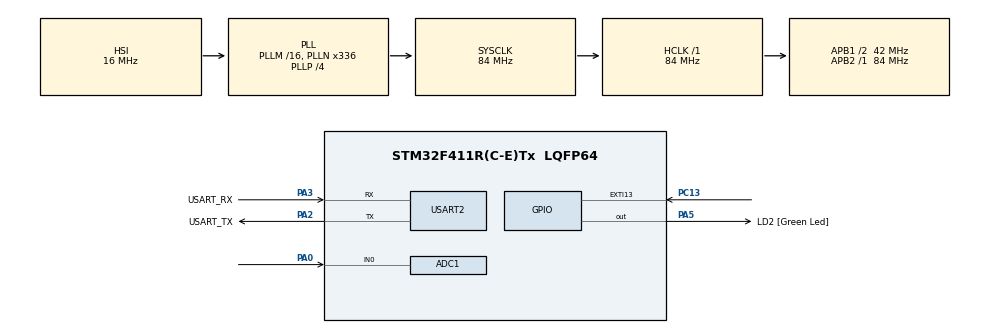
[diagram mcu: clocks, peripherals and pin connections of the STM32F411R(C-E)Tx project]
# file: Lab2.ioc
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ADC1.Channel-0\#ChannelRegularConversion=ADC_CHANNEL_TEMPSENSOR
ADC1.Channel-1\#ChannelRegularConversion=ADC_CHANNEL_0
ADC1.ContinuousConvMode=ENABLE
ADC1.DMAContinuousRequests=ENABLE
ADC1.InjNumberOfConversion=0
ADC1.NbrOfConversion=2
ADC1.NbrOfConversionFlag=1
ADC1.Rank-0\#ChannelRegularConversion=1
ADC1.Rank-1\#ChannelRegularConversion=2
ADC1.SamplingTime-0\#ChannelRegularConversion=ADC_SAMPLETIME_3CYCLES
ADC1.SamplingTime-1\#ChannelRegularConversion=ADC_SAMPLETIME_3CYCLES
ADC1.master=1
Dma.ADC1.0.Direction=DMA_PERIPH_TO_MEMORY
Dma.ADC1.0.FIFOMode=DMA_FIFOMODE_DISABLE
Dma.ADC1.0.Instance=DMA2_Stream0
Dma.ADC1.0.MemDataAlignment=DMA_MDATAALIGN_HALFWORD
Dma.ADC1.0.MemInc=DMA_MINC_ENABLE
Dma.ADC1.0.Mode=DMA_CIRCULAR
Dma.ADC1.0.PeriphDataAlignment=DMA_PDATAALIGN_HALFWORD
Dma.ADC1.0.PeriphInc=DMA_PINC_DISABLE
Dma.ADC1.0.Priority=DMA_PRIORITY_LOW
Dma.Request0=ADC1
Mcu.Family=STM32F4
Mcu.Name=STM32F411R(C-E)Tx
Mcu.Package=LQFP64
NVIC.ADC_IRQn=true\:0\:0\:false\:false\:true\:true\:true\:true
NVIC.DMA2_Stream0_IRQn=true\:0\:0\:false\:false\:true\:false\:true\:true
NVIC.EXTI15_10_IRQn=true\:0\:0\:false\:false\:true\:true\:true\:true
NVIC.PriorityGroup=NVIC_PRIORITYGROUP_0
PA0-WKUP.Signal=ADCx_IN0
PA13.GPIO_Label=TMS
PA13.Mode=Serial_Wire
PA13.Signal=SYS_JTMS-SWDIO
PA14.GPIO_Label=TCK
PA14.Mode=Serial_Wire
PA14.Signal=SYS_JTCK-SWCLK
PA2.GPIO_Label=USART_TX
PA2.Mode=Asynchronous
PA2.Signal=USART2_TX
PA3.GPIO_Label=USART_RX
PA3.Mode=Asynchronous
PA3.Signal=USART2_RX
PA5.GPIO_Label=LD2 [Green Led]
PA5.Signal=GPIO_Output
PB3.GPIO_Label=SWO
PB3.Signal=SYS_JTDO-SWO
PC13-ANTI_TAMP.GPIO_ModeDefaultEXTI=GPIO_MODE_IT_FALLING
PC13-ANTI_TAMP.Signal=GPXTI13
PC14-OSC32_IN.Mode=LSE-External-Oscillator
PC14-OSC32_IN.Signal=RCC_OSC32_IN
PC15-OSC32_OUT.Mode=LSE-External-Oscillator
PC15-OSC32_OUT.Signal=RCC_OSC32_OUT
PH0\ -\ OSC_IN.Mode=HSE-External-Clock-Source
PH0\ -\ OSC_IN.Signal=RCC_OSC_IN
PH1\ -\ OSC_OUT.Mode=HSE-External-Clock-Source
PH1\ -\ OSC_OUT.Signal=RCC_OSC_OUT
ProjectManager.HeapSize=0x200
ProjectManager.StackSize=0x400
ProjectManager.TargetToolchain=STM32CubeIDE
RCC.48MHZClocksFreq_Value=84000000
RCC.AHBFreq_Value=84000000
RCC.APB1CLKDivider=RCC_HCLK_DIV2
RCC.APB1Freq_Value=42000000
RCC.APB1TimFreq_Value=84000000
RCC.APB2Freq_Value=84000000
RCC.APB2TimFreq_Value=84000000
RCC.CortexFreq_Value=84000000
RCC.FLatency-AdvancedSettings=FLASH_LATENCY_2
RCC.HCLKFreq_Value=84000000
RCC.HSE_VALUE=8000000
RCC.HSI_VALUE=16000000
RCC.PLLN=336
RCC.PLLP=RCC_PLLP_DIV4
RCC.SYSCLKFreq_VALUE=84000000
RCC.SYSCLKSource=RCC_SYSCLKSOURCE_PLLCLK
RCC.VCOOutputFreq_Value=336000000
SH.ADCx_IN0.0=ADC1_IN0,IN0
USART2.VirtualMode=VM_ASYNC
VP_ADC1_TempSens_Input.Mode=IN-TempSens
board=NUCLEO-F411RE

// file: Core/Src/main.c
/* USER CODE BEGIN Header */
/**
  ******************************************************************************
  * @file           : main.c
  * @brief          : Main program body
  ******************************************************************************
  * @attention
  *
  * Copyright (c) 2023 STMicroelectronics.
  * All rights reserved.
  *
  * This software is licensed under terms that can be found in the LICENSE file
  * in the root directory of this software component.
  * If no LICENSE file comes with this software, it is provided AS-IS.
  *
  ******************************************************************************
  */
/* USER CODE END Header */
#include "main.h"

ADC_HandleTypeDef hadc1;
DMA_HandleTypeDef hdma_adc1;

UART_HandleTypeDef huart2;

/* USER CODE BEGIN PV */
uint16_t adcRawData[20];
uint16_t sumV;
uint16_t sumT;
uint16_t avV;
uint16_t avT;
uint16_t Tc;
uint16_t Tk;

typedef union
{
	struct
	{
		uint16_t ADC_IN0;
		uint16_t Temp;
	}subData;
	uint16_t buffer[2];
}DMA_ADC_BufferType;

DMA_ADC_BufferType buffer[10];
/* USER CODE END PV */

void SystemClock_Config(void);
static void MX_GPIO_Init(void);
static void MX_DMA_Init(void);
static void MX_USART2_UART_Init(void);
static void MX_ADC1_Init(void);

int main(void)
{

  /* MCU Configuration--------------------------------------------------------*/

  /* Reset of all peripherals, Initializes the Flash interface and the Systick. */
  HAL_Init();

  /* Configure the system clock */
  SystemClock_Config();

  /* Initialize all configured peripherals */
  MX_GPIO_Init();
  MX_DMA_Init();
  MX_USART2_UART_Init();
  MX_ADC1_Init();

  /* Infinite loop */
  while (1)
  {

    /* USER CODE BEGIN 3 */
	  	  static uint32_t timestamp = 0;
	  	  if (HAL_GetTick() >= timestamp)
	  	  {
	  		  timestamp = HAL_GetTick()+1000;
	  		  sumT = adcRawData[0]+adcRawData[2]+adcRawData[4]+adcRawData[6]+adcRawData[8]+adcRawData[10]+adcRawData[12]+adcRawData[14]+adcRawData[16]+adcRawData[18];
	  		  sumV = adcRawData[1]+adcRawData[3]+adcRawData[5]+adcRawData[7]+adcRawData[9]+adcRawData[11]+adcRawData[13]+adcRawData[15]+adcRawData[17]+adcRawData[19];
	  		  avV = (sumV/10)*6600/4096;
	  		  avT = (sumT/10);
	  		  Tc = ((avT-760)/2.5)+25;
	  		  Tk = Tc +273.15;
	  	  }
  }
  /* USER CODE END 3 */
}

void SystemClock_Config(void)
{
  RCC_OscInitTypeDef RCC_OscInitStruct = {0};
  RCC_ClkInitTypeDef RCC_ClkInitStruct = {0};

  /** Configure the main internal regulator output voltage
  */
  __HAL_RCC_PWR_CLK_ENABLE();
  __HAL_PWR_VOLTAGESCALING_CONFIG(PWR_REGULATOR_VOLTAGE_SCALE1);

  /** Initializes the RCC Oscillators according to the specified parameters
  * in the RCC_OscInitTypeDef structure.
  */
  RCC_OscInitStruct.OscillatorType = RCC_OSCILLATORTYPE_HSI;
  RCC_OscInitStruct.HSIState = RCC_HSI_ON;
  RCC_OscInitStruct.HSICalibrationValue = RCC_HSICALIBRATION_DEFAULT;
  RCC_OscInitStruct.PLL.PLLState = RCC_PLL_ON;
  RCC_OscInitStruct.PLL.PLLSource = RCC_PLLSOURCE_HSI;
  RCC_OscInitStruct.PLL.PLLM = 16;
  RCC_OscInitStruct.PLL.PLLN = 336;
  RCC_OscInitStruct.PLL.PLLP = RCC_PLLP_DIV4;
  RCC_OscInitStruct.PLL.PLLQ = 4;
  if (HAL_RCC_OscConfig(&RCC_OscInitStruct) != HAL_OK)
  {
    Error_Handler();
  }

  /** Initializes the CPU, AHB and APB buses clocks
  */
  RCC_ClkInitStruct.ClockType = RCC_CLOCKTYPE_HCLK|RCC_CLOCKTYPE_SYSCLK
                              |RCC_CLOCKTYPE_PCLK1|RCC_CLOCKTYPE_PCLK2;
  RCC_ClkInitStruct.SYSCLKSource = RCC_SYSCLKSOURCE_PLLCLK;
  RCC_ClkInitStruct.AHBCLKDivider = RCC_SYSCLK_DIV1;
  RCC_ClkInitStruct.APB1CLKDivider = RCC_HCLK_DIV2;
  RCC_ClkInitStruct.APB2CLKDivider = RCC_HCLK_DIV1;

  if (HAL_RCC_ClockConfig(&RCC_ClkInitStruct, FLASH_LATENCY_2) != HAL_OK)
  {
    Error_Handler();
  }
}

static void MX_ADC1_Init(void)
{

  ADC_ChannelConfTypeDef sConfig = {0};

  /** Configure the global features of the ADC (Clock, Resolution, Data Alignment and number of conversion)
  */
  hadc1.Instance = ADC1;
  hadc1.Init.ClockPrescaler = ADC_CLOCK_SYNC_PCLK_DIV4;
  hadc1.Init.Resolution = ADC_RESOLUTION_12B;
  hadc1.Init.ScanConvMode = ENABLE;
  hadc1.Init.ContinuousConvMode = ENABLE;
  hadc1.Init.DiscontinuousConvMode = DISABLE;
  hadc1.Init.ExternalTrigConvEdge = ADC_EXTERNALTRIGCONVEDGE_NONE;
  hadc1.Init.ExternalTrigConv = ADC_SOFTWARE_START;
  hadc1.Init.DataAlign = ADC_DATAALIGN_RIGHT;
  hadc1.Init.NbrOfConversion = 2;
  hadc1.Init.DMAContinuousRequests = ENABLE;
  hadc1.Init.EOCSelection = ADC_EOC_SINGLE_CONV;
  if (HAL_ADC_Init(&hadc1) != HAL_OK)
  {
    Error_Handler();
  }

  /** Configure for the selected ADC regular channel its corresponding rank in the sequencer and its sample time.
  */
  sConfig.Channel = ADC_CHANNEL_TEMPSENSOR;
  sConfig.Rank = 1;
  sConfig.SamplingTime = ADC_SAMPLETIME_3CYCLES;
  if (HAL_ADC_ConfigChannel(&hadc1, &sConfig) != HAL_OK)
  {
    Error_Handler();
  }

  /** Configure for the selected ADC regular channel its corresponding rank in the sequencer and its sample time.
  */
  sConfig.Channel = ADC_CHANNEL_0;
  sConfig.Rank = 2;
  if (HAL_ADC_ConfigChannel(&hadc1, &sConfig) != HAL_OK)
  {
    Error_Handler();
  }

}

static void MX_USART2_UART_Init(void)
{

  huart2.Instance = USART2;
  huart2.Init.BaudRate = 115200;
  huart2.Init.WordLength = UART_WORDLENGTH_8B;
  huart2.Init.StopBits = UART_STOPBITS_1;
  huart2.Init.Parity = UART_PARITY_NONE;
  huart2.Init.Mode = UART_MODE_TX_RX;
  huart2.Init.HwFlowCtl = UART_HWCONTROL_NONE;
  huart2.Init.OverSampling = UART_OVERSAMPLING_16;
  if (HAL_UART_Init(&huart2) != HAL_OK)
  {
    Error_Handler();
  }

}

static void MX_DMA_Init(void)
{

  /* DMA controller clock enable */
  __HAL_RCC_DMA2_CLK_ENABLE();

  /* DMA interrupt init */
  /* DMA2_Stream0_IRQn interrupt configuration */
  HAL_NVIC_SetPriority(DMA2_Stream0_IRQn, 0, 0);
  HAL_NVIC_EnableIRQ(DMA2_Stream0_IRQn);

}

static void MX_GPIO_Init(void)
{
  GPIO_InitTypeDef GPIO_InitStruct = {0};

  /* GPIO Ports Clock Enable */
  __HAL_RCC_GPIOC_CLK_ENABLE();
  __HAL_RCC_GPIOH_CLK_ENABLE();
  __HAL_RCC_GPIOA_CLK_ENABLE();
  __HAL_RCC_GPIOB_CLK_ENABLE();

  /*Configure GPIO pin Output Level */
  HAL_GPIO_WritePin(LD2_GPIO_Port, LD2_Pin, GPIO_PIN_RESET);

  /*Configure GPIO pin : PC13 */
  GPIO_InitStruct.Pin = GPIO_PIN_13;
  GPIO_InitStruct.Mode = GPIO_MODE_IT_FALLING;
  GPIO_InitStruct.Pull = GPIO_NOPULL;
  HAL_GPIO_Init(GPIOC, &GPIO_InitStruct);

  /*Configure GPIO pin : LD2_Pin */
  GPIO_InitStruct.Pin = LD2_Pin;
  GPIO_InitStruct.Mode = GPIO_MODE_OUTPUT_PP;
  GPIO_InitStruct.Pull = GPIO_NOPULL;
  GPIO_InitStruct.Speed = GPIO_SPEED_FREQ_LOW;
  HAL_GPIO_Init(LD2_GPIO_Port, &GPIO_InitStruct);

  /* EXTI interrupt init*/
  HAL_NVIC_SetPriority(EXTI15_10_IRQn, 0, 0);
  HAL_NVIC_EnableIRQ(EXTI15_10_IRQn);

}

/* USER CODE BEGIN 4 */
void HAL_GPIO_EXTI_Callback(uint16_t GPIO_Pin)
{
	if(GPIO_Pin == GPIO_PIN_13)
	{

		HAL_ADC_Start_DMA(&hadc1, (uint32_t*)adcRawData, 20);
	}

}
void HAL_ADC_ConvCpltCallback(ADC_HandleTypeDef* hadc)
{

}
/* USER CODE END 4 */

void Error_Handler(void)
{
  __disable_irq();
  while (1)
  {
  }
}
